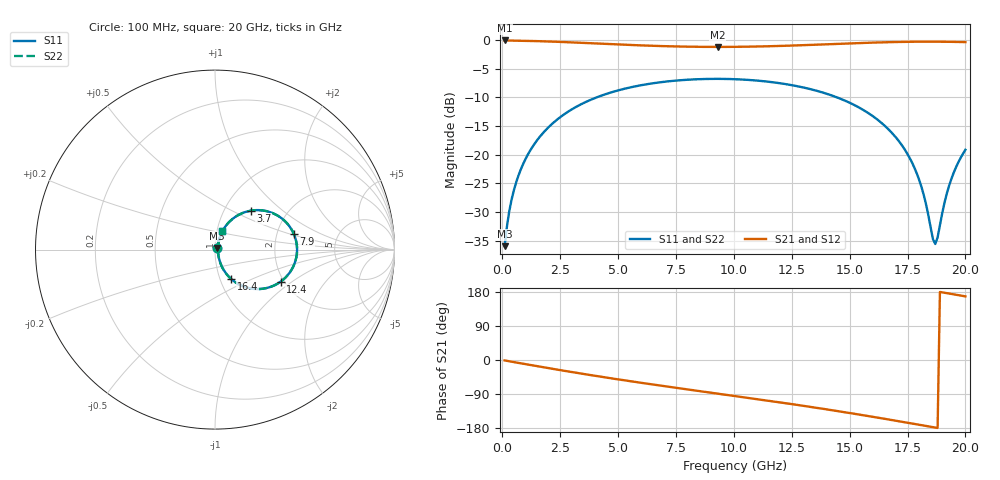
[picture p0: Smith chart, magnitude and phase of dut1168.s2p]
! Touchstone file exported from HFSS 2026.1.0
!  File:  C:/ffzhzh/LocalFiles/Ansys_Project_Files/temp_train_TSV_RDL_1168_1783313807_39728.aedt
!  Generated:  01:08:01 PM Jul  6, 2026
!  Design:  TSV_RDL
!  Project:  temp_train_TSV_RDL_1168_1783313807_39728
! Variables:
!  h_bsmrdl = 2.58um
!  h_ox = 20um
!  h_rdl = 5um
!  h_sub = 65.92um
!  h_tmrdl = 4.16um
!  h_tsv = 65.92um
!  h_via = 3um
!  l_bsmrdl = 286.16um
!  l_sub = 3273.27um
!  l_tmrdl = 466.28um
!  m_sub = 200um
!  pitch = 52.95um
!  r_tsv = 12.97um
!  s_tmrdl = 10um
!  w_bsmrdl = 19.98um
!  w_sub = 500um
!  w_tmrdl = 29.91um
!  x_tsv_center1 = 481.235um
!  x_tsv_center2 = 787.375um
!  x_tsv_center3 = 1283.565um
!  x_tsv_center4 = 1589.705um
!  x_tsv_center5 = 2085.895um
!  x_tsv_center6 = 2392.035um
# GHz S MA R 50.000000
! Terminal data exported
! Port[1] = TM_RDL1_1_T1
! Port[2] = TM_RDL5_1_T1
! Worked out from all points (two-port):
!   200 points, 100 MHz to 20 GHz, reference 50 ohm
!   highest |S21| = -0.11 dB at 100 MHz (marker M1); lowest = -1.2 dB at 9.3 GHz (marker M2)
!   |S21| within 3 dB of the highest: start of sweep to end of sweep
!   lowest |S11| = -35.9 dB at 100 MHz (marker M3), VSWR 1.03, Z = 51.3 + j1.01 ohm
!   |S11| at or under -10 dB: start of sweep to 4.087 GHz; 14.44 GHz to end of sweep
!   |S22| runs from -35.9 to -6.8 dB; largest |S21 - S12| = 4e-14
!   S11 on the Smith chart (normalised r, x): 100 MHz: 1.03, +0.02; 3.7 GHz: 1.32, +0.63; 7.9 GHz: 2.49, +0.54; 12.4 GHz: 1.92, -0.82; 16.4 GHz: 1.13, -0.38; 20 GHz: 1.06, +0.22
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0.1  0.01598 37.9  0.9875 -1.2  0.9875 -1.2  0.01598 37.9
! Gamma 0 0 0 0
! Port Impedance 50 0 50 0
0.3  0.03208 61.1  0.9857 -3.4  0.9857 -3.4  0.03208 61.1
0.5  0.04901 66.7  0.984 -5.5  0.984 -5.5  0.04901 66.7
1.1  0.09989 68.7  0.9788 -12.0  0.9788 -12.0  0.09989 68.7
2.1  0.1816 61.9  0.9659 -22.6  0.9659 -22.6  0.1816 61.9
3.5  0.2811 49.4  0.9406 -36.8  0.9406 -36.8  0.2811 49.4
3.7  0.2935 47.6  0.9366 -38.7  0.9366 -38.7  0.2935 47.6
6.8  0.4266 20.3  0.8833 -67.3  0.8833 -67.3  0.4266 20.3
7.9  0.4481 11.1  0.8726 -76.8  0.8726 -76.8  0.4481 11.1
9.3  0.4574 -0.4  0.8676 -88.6  0.8676 -88.6  0.4574 -0.4
10.1  0.4538 -6.9  0.8691 -95.4  0.8691 -95.4  0.4538 -6.9
12.4  0.4065 -26.1  0.8897 -115.4  0.8897 -115.4  0.4065 -26.2
13.4  0.3681 -34.8  0.9045 -124.6  0.9045 -124.6  0.3681 -34.8
16.4  0.1874 -61.1  0.9509 -154.0  0.9509 -154.0  0.1874 -61.2
16.7  0.1646 -63.4  0.9543 -157.1  0.9543 -157.1  0.1646 -63.5
17.4  0.1093 -67.6  0.9604 -164.5  0.9604 -164.5  0.1093 -67.8
17.9  0.06874 -67.5  0.9629 -169.8  0.9629 -169.8  0.06865 -67.9
18.2  0.04472 -62.8  0.9637 -173.0  0.9637 -173.0  0.04458 -63.3
18.6  0.01836 -23.6  0.9637 -177.2  0.9637 -177.2  0.018 -24.2
18.7  0.01669 2.7  0.9635 -178.3  0.9635 -178.3  0.01629 2.8
19.3  0.05399 65.8  0.9611 175.3  0.9611 175.3  0.05387 66.2
20  0.1103 67.9  0.9554 167.9  0.9554 167.9  0.1103 68.1
